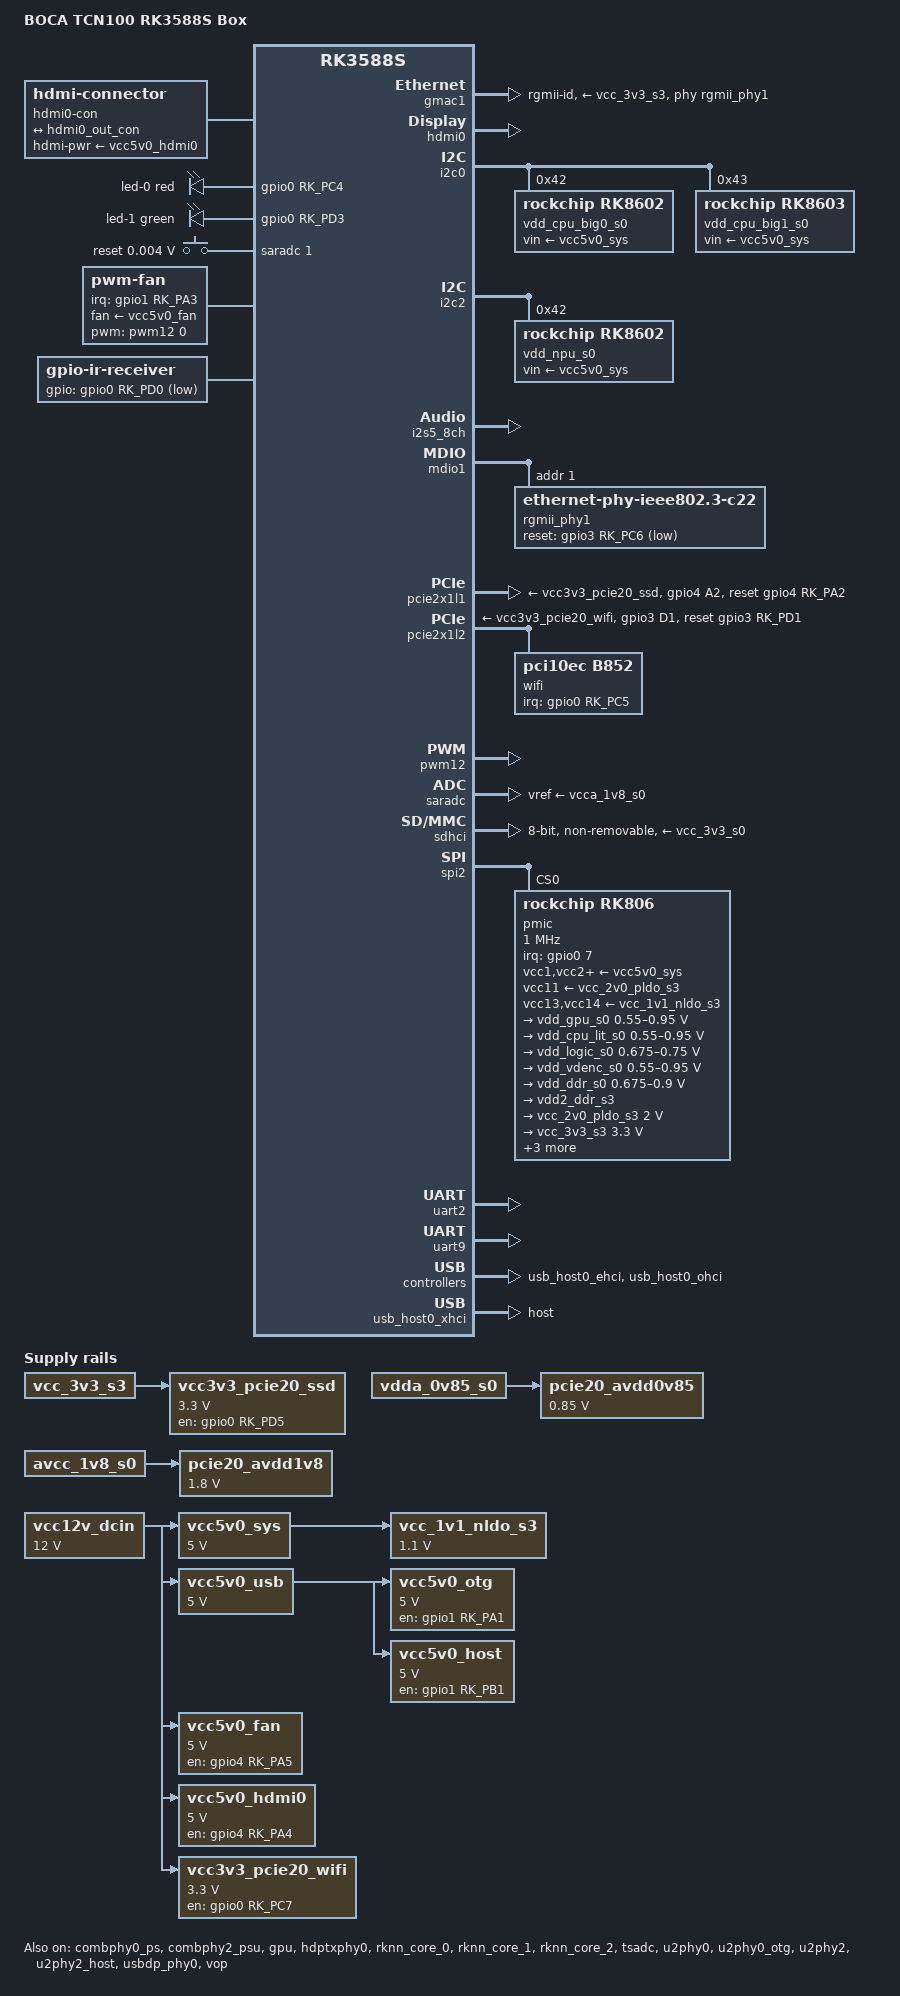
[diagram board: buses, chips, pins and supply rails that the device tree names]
// SPDX-License-Identifier: (GPL-2.0+ OR MIT)

/dts-v1/;

#include <dt-bindings/gpio/gpio.h>
#include <dt-bindings/input/input.h>
#include <dt-bindings/leds/common.h>
#include <dt-bindings/pinctrl/rockchip.h>
#include <dt-bindings/soc/rockchip,vop2.h>
#include "rk3588s.dtsi"

/ {
	model = "BOCA TCN100 RK3588S Box";
	compatible = "boca,tcn100", "rockchip,rk3588s";

	aliases {
		ethernet0 = &gmac1;
		mmc0 = &sdhci;
		serial2 = &uart2;
	};

	chosen {
		stdout-path = "serial2:1500000n8";
	};

	hdmi0-con {
		compatible = "hdmi-connector";
		hdmi-pwr-supply = <&vcc5v0_hdmi0>;
		type = "a";

		port {
			hdmi0_con_in: endpoint {
				remote-endpoint = <&hdmi0_out_con>;
			};
		};
	};

	hdmi0-sound {
		compatible = "simple-audio-card";
		simple-audio-card,format = "i2s";
		simple-audio-card,mclk-fs = <128>;
		simple-audio-card,name = "hdmi0";
		status = "okay";

		simple-audio-card,codec {
			sound-dai = <&hdmi0>;
		};

		simple-audio-card,cpu {
			sound-dai = <&i2s5_8ch>;
		};
	};

	leds {
		compatible = "gpio-leds";
		pinctrl-names = "default";
		pinctrl-0 = <&wan_led_pin &power_led_pin>;

		led-0 {
			color = <LED_COLOR_ID_RED>;
			function = "wan";
			gpios = <&gpio0 RK_PC4 GPIO_ACTIVE_HIGH>;
			linux,default-trigger = "default-on";
		};

		led-1 {
			color = <LED_COLOR_ID_GREEN>;
			function = LED_FUNCTION_POWER;
			gpios = <&gpio0 RK_PD3 GPIO_ACTIVE_HIGH>;
			linux,default-trigger = "default-on";
		};
	};

	adc-keys {
		compatible = "adc-keys";
		io-channels = <&saradc 1>;
		io-channel-names = "buttons";
		keyup-threshold-microvolt = <1800000>;
		poll-interval = <100>;

		button-reset {
			label = "reset";
			linux,code = <KEY_VENDOR>;
			press-threshold-microvolt = <4400>;
		};
	};

	fan: pwm-fan {
		compatible = "pwm-fan";
		#cooling-cells = <2>;
		cooling-levels = <0 72 117 162 229 255>;
		fan-supply = <&vcc5v0_fan>;
		interrupt-parent = <&gpio1>;
		interrupts = <RK_PA3 IRQ_TYPE_EDGE_FALLING>;
		pinctrl-names = "default";
		pinctrl-0 = <&fan_tach_pin>;
		pwms = <&pwm12 0 50000 1>;
	};

	vcc12v_dcin: regulator-vcc12v-dcin {
		compatible = "regulator-fixed";
		regulator-name = "vcc12v_dcin";
		regulator-always-on;
		regulator-boot-on;
		regulator-min-microvolt = <12000000>;
		regulator-max-microvolt = <12000000>;
	};

	vcc5v0_sys: regulator-vcc5v0-sys {
		compatible = "regulator-fixed";
		regulator-name = "vcc5v0_sys";
		regulator-always-on;
		regulator-boot-on;
		regulator-min-microvolt = <5000000>;
		regulator-max-microvolt = <5000000>;
		vin-supply = <&vcc12v_dcin>;
	};

	vcc_1v1_nldo_s3: regulator-vcc-1v1-nldo-s3 {
		compatible = "regulator-fixed";
		regulator-name = "vcc_1v1_nldo_s3";
		regulator-always-on;
		regulator-boot-on;
		regulator-min-microvolt = <1100000>;
		regulator-max-microvolt = <1100000>;
		vin-supply = <&vcc5v0_sys>;
	};

	vcc5v0_usb: regulator-vcc5v0-usb {
		compatible = "regulator-fixed";
		regulator-name = "vcc5v0_usb";
		regulator-always-on;
		regulator-boot-on;
		regulator-min-microvolt = <5000000>;
		regulator-max-microvolt = <5000000>;
		vin-supply = <&vcc12v_dcin>;
	};

	vcc5v0_otg: regulator-vcc5v0-otg {
		compatible = "regulator-fixed";
		enable-active-high;
		gpio = <&gpio1 RK_PA1 GPIO_ACTIVE_HIGH>;
		pinctrl-names = "default";
		pinctrl-0 = <&vcc5v0_otg_en>;
		regulator-name = "vcc5v0_otg";
		regulator-min-microvolt = <5000000>;
		regulator-max-microvolt = <5000000>;
		vin-supply = <&vcc5v0_usb>;
	};

	vcc5v0_host: regulator-vcc5v0-host {
		compatible = "regulator-fixed";
		enable-active-high;
		gpio = <&gpio1 RK_PB1 GPIO_ACTIVE_HIGH>;
		pinctrl-names = "default";
		pinctrl-0 = <&vcc5v0_host_en>;
		regulator-name = "vcc5v0_host";
		regulator-min-microvolt = <5000000>;
		regulator-max-microvolt = <5000000>;
		vin-supply = <&vcc5v0_usb>;
	};

	vcc5v0_fan: regulator-vcc5v0-fan {
		compatible = "regulator-fixed";
		enable-active-high;
		gpio = <&gpio4 RK_PA5 GPIO_ACTIVE_HIGH>;
		pinctrl-names = "default";
		pinctrl-0 = <&vcc5v0_fan_en>;
		regulator-name = "vcc5v0_fan";
		regulator-min-microvolt = <5000000>;
		regulator-max-microvolt = <5000000>;
		vin-supply = <&vcc12v_dcin>;
	};

	ir-receiver {
		compatible = "gpio-ir-receiver";
		gpios = <&gpio0 RK_PD0 GPIO_ACTIVE_LOW>;
		pinctrl-names = "default";
		pinctrl-0 = <&ir_recv_pin>;
		linux,rc-map-name = "rc-hk1-box";
	};

	vcc5v0_hdmi0: regulator-vcc5v0-hdmi0 {
		compatible = "regulator-fixed";
		enable-active-high;
		gpio = <&gpio4 RK_PA4 GPIO_ACTIVE_HIGH>;
		pinctrl-names = "default";
		pinctrl-0 = <&vcc5v0_hdmi_en_pin>;
		regulator-name = "vcc5v0_hdmi0";
		regulator-min-microvolt = <5000000>;
		regulator-max-microvolt = <5000000>;
		vin-supply = <&vcc12v_dcin>;
	};

	vcc3v3_pcie20_ssd: regulator-vcc3v3-pcie20-ssd {
		compatible = "regulator-fixed";
		enable-active-high;
		gpio = <&gpio0 RK_PD5 GPIO_ACTIVE_HIGH>;
		pinctrl-names = "default";
		pinctrl-0 = <&pcie20_ssd_pwr>;
		regulator-name = "vcc3v3_pcie20_ssd";
		regulator-always-on;
		regulator-boot-on;
		regulator-min-microvolt = <3300000>;
		regulator-max-microvolt = <3300000>;
		startup-delay-us = <5000>;
		vin-supply = <&vcc_3v3_s3>;
	};

	vcc3v3_pcie20_wifi: regulator-vcc3v3-pcie20-wifi {
		compatible = "regulator-fixed";
		enable-active-high;
		gpio = <&gpio0 RK_PC7 GPIO_ACTIVE_HIGH>;
		pinctrl-names = "default";
		pinctrl-0 = <&pcie20_wifi_pwr>;
		regulator-name = "vcc3v3_pcie20_wifi";
		regulator-min-microvolt = <3300000>;
		regulator-max-microvolt = <3300000>;
		startup-delay-us = <5000>;
		vin-supply = <&vcc12v_dcin>;
	};

	pcie20_avdd0v85: regulator-pcie20-avdd0v85 {
		compatible = "regulator-fixed";
		regulator-name = "pcie20_avdd0v85";
		regulator-always-on;
		regulator-boot-on;
		regulator-min-microvolt = <850000>;
		regulator-max-microvolt = <850000>;
		vin-supply = <&vdda_0v85_s0>;
	};

	pcie20_avdd1v8: regulator-pcie20-avdd1v8 {
		compatible = "regulator-fixed";
		regulator-name = "pcie20_avdd1v8";
		regulator-always-on;
		regulator-boot-on;
		regulator-min-microvolt = <1800000>;
		regulator-max-microvolt = <1800000>;
		vin-supply = <&avcc_1v8_s0>;
	};
};

&combphy0_ps {
	status = "okay";
};

&combphy2_psu {
	status = "okay";
};

&cpu_b0 {
	cpu-supply = <&vdd_cpu_big0_s0>;
};

&cpu_b1 {
	cpu-supply = <&vdd_cpu_big0_s0>;
};

&cpu_b2 {
	cpu-supply = <&vdd_cpu_big1_s0>;
};

&cpu_b3 {
	cpu-supply = <&vdd_cpu_big1_s0>;
};

&cpu_l0 {
	cpu-supply = <&vdd_cpu_lit_s0>;
};

&cpu_l1 {
	cpu-supply = <&vdd_cpu_lit_s0>;
};

&cpu_l2 {
	cpu-supply = <&vdd_cpu_lit_s0>;
};

&cpu_l3 {
	cpu-supply = <&vdd_cpu_lit_s0>;
};

&gmac1 {
	clock_in_out = "output";
	phy-handle = <&rgmii_phy1>;
	phy-mode = "rgmii-id";
	phy-supply = <&vcc_3v3_s3>;
	pinctrl-names = "default";
	pinctrl-0 = <&gmac1_miim
		     &gmac1_tx_bus2
		     &gmac1_rx_bus2
		     &gmac1_rgmii_clk
		     &gmac1_rgmii_bus>;
	status = "okay";
};

&gpu {
	mali-supply = <&vdd_gpu_s0>;
	status = "okay";
};

&hdmi0 {
	frl-enable-gpios = <&gpio4 RK_PB2 GPIO_ACTIVE_HIGH>;
	pinctrl-names = "default";
	pinctrl-0 = <&hdmim0_tx0_cec
		     &hdmim0_tx0_hpd
		     &hdmim0_tx0_scl
		     &hdmim0_tx0_sda>;
	status = "okay";
};

&hdmi0_in {
	hdmi0_in_vp0: endpoint {
		remote-endpoint = <&vp0_out_hdmi0>;
	};
};

&hdmi0_out {
	hdmi0_out_con: endpoint {
		remote-endpoint = <&hdmi0_con_in>;
	};
};

&hdptxphy0 {
	status = "okay";
};

&i2c0 {
	pinctrl-names = "default";
	pinctrl-0 = <&i2c0m2_xfer>;
	status = "okay";

	vdd_cpu_big0_s0: regulator@42 {
		compatible = "rockchip,rk8602";
		reg = <0x42>;
		fcs,suspend-voltage-selector = <1>;
		regulator-name = "vdd_cpu_big0_s0";
		regulator-always-on;
		regulator-boot-on;
		regulator-min-microvolt = <550000>;
		regulator-max-microvolt = <1050000>;
		regulator-ramp-delay = <2300>;
		vin-supply = <&vcc5v0_sys>;

		regulator-state-mem {
			regulator-off-in-suspend;
		};
	};

	vdd_cpu_big1_s0: regulator@43 {
		compatible = "rockchip,rk8603", "rockchip,rk8602";
		reg = <0x43>;
		fcs,suspend-voltage-selector = <1>;
		regulator-name = "vdd_cpu_big1_s0";
		regulator-always-on;
		regulator-boot-on;
		regulator-min-microvolt = <550000>;
		regulator-max-microvolt = <1050000>;
		regulator-ramp-delay = <2300>;
		vin-supply = <&vcc5v0_sys>;

		regulator-state-mem {
			regulator-off-in-suspend;
		};
	};
};

&i2c2 {
	status = "okay";

	vdd_npu_s0: regulator@42 {
		compatible = "rockchip,rk8602";
		reg = <0x42>;
		fcs,suspend-voltage-selector = <1>;
		regulator-name = "vdd_npu_s0";
		regulator-always-on;
		regulator-boot-on;
		regulator-min-microvolt = <550000>;
		regulator-max-microvolt = <950000>;
		regulator-ramp-delay = <2300>;
		vin-supply = <&vcc5v0_sys>;

		regulator-state-mem {
			regulator-off-in-suspend;
		};
	};
};

&i2s5_8ch {
	status = "okay";
};

&mdio1 {
	rgmii_phy1: ethernet-phy@1 {
		compatible = "ethernet-phy-ieee802.3-c22";
		reg = <1>;
		pinctrl-names = "default";
		pinctrl-0 = <&gmac1_rstn>;
		reset-assert-us = <20000>;
		reset-deassert-us = <100000>;
		reset-gpios = <&gpio3 RK_PC6 GPIO_ACTIVE_LOW>;
	};
};

&package_thermal {
	polling-delay = <1000>;

	trips {
		package_fan0: package-fan0 {
			temperature = <56000>;
			hysteresis = <5000>;
			type = "active";
		};

		package_fan1: package-fan1 {
			temperature = <62000>;
			hysteresis = <2000>;
			type = "active";
		};

		package_fan2: package-fan2 {
			temperature = <70000>;
			hysteresis = <2000>;
			type = "active";
		};

		package_fan3: package-fan3 {
			temperature = <80000>;
			hysteresis = <2000>;
			type = "active";
		};

		package_fan4: package-fan4 {
			temperature = <90000>;
			hysteresis = <2000>;
			type = "hot";
		};
	};

	cooling-maps {
		map0 {
			trip = <&package_fan0>;
			cooling-device = <&fan THERMAL_NO_LIMIT 1>;
		};

		map1 {
			trip = <&package_fan1>;
			cooling-device = <&fan 1 2>;
		};

		map2 {
			trip = <&package_fan2>;
			cooling-device = <&fan 2 3>;
		};

		map3 {
			trip = <&package_fan3>;
			cooling-device = <&fan 3 4>;
		};

		map4 {
			trip = <&package_fan4>;
			cooling-device = <&fan 4 THERMAL_NO_LIMIT>;
		};
	};
};

&pcie2x1l1 {
	pinctrl-names = "default";
	pinctrl-0 = <&pcie20x1_1_perstn>;
	reset-gpios = <&gpio4 RK_PA2 GPIO_ACTIVE_HIGH>;
	vpcie3v3-supply = <&vcc3v3_pcie20_ssd>;
	status = "okay";
};

&pcie2x1l2 {
	pinctrl-names = "default";
	pinctrl-0 = <&pcie20x1_2_perstn>;
	reset-gpios = <&gpio3 RK_PD1 GPIO_ACTIVE_HIGH>;
	vpcie3v3-supply = <&vcc3v3_pcie20_wifi>;
	status = "okay";

	pcie@0,0 {
		reg = <0x00400000 0 0 0 0>;
		#address-cells = <3>;
		#size-cells = <2>;
		bus-range = <0x40 0x4f>;
		device_type = "pci";
		ranges;

		wifi: pcie@0,0 {
			compatible = "pci10ec,b852";
			reg = <0x410000 0 0 0 0>;
			interrupt-parent = <&gpio0>;
			interrupts = <RK_PC5 IRQ_TYPE_LEVEL_HIGH>;
			interrupt-names = "host-wake";
			pinctrl-names = "default";
			pinctrl-0 = <&wifi_host_wake_irq>;
		};
	};
};

&pd_gpu {
	domain-supply = <&vdd_gpu_s0>;
};

&pd_npu {
	domain-supply = <&vdd_npu_s0>;
};

&pinctrl {
	fan {
		vcc5v0_fan_en: vcc5v0-fan-en {
			rockchip,pins = <4 RK_PA5 RK_FUNC_GPIO &pcfg_pull_none>;
		};

		fan_tach_pin: fan-tach-pin {
			rockchip,pins = <1 RK_PA3 RK_FUNC_GPIO &pcfg_pull_none>;
		};
	};

	hdmi {
		vcc5v0_hdmi_en_pin: vcc5v0-hdmi-en-pin {
			rockchip,pins = <4 RK_PA4 RK_FUNC_GPIO &pcfg_pull_none>;
		};
	};

	leds {
		wan_led_pin: wan-led-pin {
			rockchip,pins = <0 RK_PC4 RK_FUNC_GPIO &pcfg_pull_none>;
		};

		power_led_pin: power-led-pin {
			rockchip,pins = <0 RK_PD3 RK_FUNC_GPIO &pcfg_pull_none>;
		};
	};

	mdio {
		gmac1_rstn: gmac1-rstn {
			rockchip,pins = <3 RK_PC6 RK_FUNC_GPIO &pcfg_pull_none>;
		};
	};

	pcie {
		pcie20x1_1_perstn: pcie20x1-1-perstn {
			rockchip,pins = <4 RK_PA2 RK_FUNC_GPIO &pcfg_pull_none>;
		};

		pcie20x1_2_perstn: pcie20x1-2-perstn {
			rockchip,pins = <3 RK_PD1 RK_FUNC_GPIO &pcfg_pull_none>;
		};

		pcie20_ssd_pwr: pcie20-ssd-pwr {
			rockchip,pins = <0 RK_PD5 RK_FUNC_GPIO &pcfg_pull_none>;
		};

		pcie20_wifi_pwr: pcie20-wifi-pwr {
			rockchip,pins = <0 RK_PC7 RK_FUNC_GPIO &pcfg_pull_none>;
		};
	};

	usb {
		vcc5v0_otg_en: vcc5v0-otg-en {
			rockchip,pins = <1 RK_PA1 RK_FUNC_GPIO &pcfg_pull_none>;
		};

		vcc5v0_host_en: vcc5v0-host-en {
			rockchip,pins = <1 RK_PB1 RK_FUNC_GPIO &pcfg_pull_none>;
		};
	};

	wifi {
		wifi_host_wake_irq: wifi-host-wake-irq {
			rockchip,pins = <0 RK_PC5 RK_FUNC_GPIO &pcfg_pull_down>;
		};
	};

	ir {
		ir_recv_pin: ir-recv-pin {
			rockchip,pins = <0 RK_PD0 RK_FUNC_GPIO &pcfg_pull_none>;
		};
	};
};

&pwm12 {
	pinctrl-names = "default";
	pinctrl-0 = <&pwm12m1_pins>;
	status = "okay";
};

&rknn_core_0 {
	npu-supply = <&vdd_npu_s0>;
	status = "okay";
};

&rknn_core_1 {
	npu-supply = <&vdd_npu_s0>;
	status = "okay";
};

&rknn_core_2 {
	npu-supply = <&vdd_npu_s0>;
	status = "okay";
};

&rknn_mmu_0 {
	status = "okay";
};

&rknn_mmu_1 {
	status = "okay";
};

&rknn_mmu_2 {
	status = "okay";
};

&saradc {
	vref-supply = <&vcca_1v8_s0>;
	status = "okay";
};

&sdhci {
	bus-width = <8>;
	mmc-hs400-1_8v;
	mmc-hs400-enhanced-strobe;
	no-sdio;
	no-sd;
	non-removable;
	vmmc-supply = <&vcc_3v3_s0>;
	vqmmc-supply = <&vcc_1v8_s3>;
	status = "okay";
};

&spi2 {
	status = "okay";
	assigned-clocks = <&cru CLK_SPI2>;
	assigned-clock-rates = <200000000>;
	num-cs = <1>;
	pinctrl-names = "default";
	pinctrl-0 = <&spi2m2_cs0 &spi2m2_pins>;

	pmic@0 {
		compatible = "rockchip,rk806";
		reg = <0>;
		gpio-controller;
		#gpio-cells = <2>;
		interrupt-parent = <&gpio0>;
		interrupts = <7 IRQ_TYPE_LEVEL_LOW>;
		pinctrl-names = "default";
		pinctrl-0 = <&pmic_pins>, <&rk806_dvs1_null>,
			    <&rk806_dvs2_null>, <&rk806_dvs3_null>;
		spi-max-frequency = <1000000>;
		system-power-controller;

		vcc1-supply = <&vcc5v0_sys>;
		vcc2-supply = <&vcc5v0_sys>;
		vcc3-supply = <&vcc5v0_sys>;
		vcc4-supply = <&vcc5v0_sys>;
		vcc5-supply = <&vcc5v0_sys>;
		vcc6-supply = <&vcc5v0_sys>;
		vcc7-supply = <&vcc5v0_sys>;
		vcc8-supply = <&vcc5v0_sys>;
		vcc9-supply = <&vcc5v0_sys>;
		vcc10-supply = <&vcc5v0_sys>;
		vcc11-supply = <&vcc_2v0_pldo_s3>;
		vcc12-supply = <&vcc5v0_sys>;
		vcc13-supply = <&vcc_1v1_nldo_s3>;
		vcc14-supply = <&vcc_1v1_nldo_s3>;
		vcca-supply = <&vcc5v0_sys>;

		rk806_dvs1_null: dvs1-null-pins {
			pins = "gpio_pwrctrl1";
			function = "pin_fun0";
		};

		rk806_dvs2_null: dvs2-null-pins {
			pins = "gpio_pwrctrl2";
			function = "pin_fun0";
		};

		rk806_dvs3_null: dvs3-null-pins {
			pins = "gpio_pwrctrl3";
			function = "pin_fun0";
		};

		regulators {
			vdd_gpu_s0: dcdc-reg1 {
				regulator-name = "vdd_gpu_s0";
				regulator-always-on;
				regulator-boot-on;
				regulator-min-microvolt = <550000>;
				regulator-max-microvolt = <950000>;
				regulator-ramp-delay = <12500>;
				regulator-enable-ramp-delay = <400>;

				regulator-state-mem {
					regulator-off-in-suspend;
				};
			};

			vdd_cpu_lit_s0: dcdc-reg2 {
				regulator-name = "vdd_cpu_lit_s0";
				regulator-always-on;
				regulator-boot-on;
				regulator-min-microvolt = <550000>;
				regulator-max-microvolt = <950000>;
				regulator-ramp-delay = <12500>;

				regulator-state-mem {
					regulator-off-in-suspend;
				};
			};

			vdd_logic_s0: dcdc-reg3 {
				regulator-name = "vdd_logic_s0";
				regulator-always-on;
				regulator-boot-on;
				regulator-min-microvolt = <675000>;
				regulator-max-microvolt = <750000>;
				regulator-ramp-delay = <12500>;

				regulator-state-mem {
					regulator-on-in-suspend;
					regulator-suspend-microvolt = <750000>;
				};
			};

			vdd_vdenc_s0: dcdc-reg4 {
				regulator-name = "vdd_vdenc_s0";
				regulator-always-on;
				regulator-boot-on;
				regulator-min-microvolt = <550000>;
				regulator-max-microvolt = <950000>;
				regulator-ramp-delay = <12500>;

				regulator-state-mem {
					regulator-off-in-suspend;
				};
			};

			vdd_ddr_s0: dcdc-reg5 {
				regulator-name = "vdd_ddr_s0";
				regulator-always-on;
				regulator-boot-on;
				regulator-min-microvolt = <675000>;
				regulator-max-microvolt = <900000>;
				regulator-ramp-delay = <12500>;

				regulator-state-mem {
					regulator-off-in-suspend;
					regulator-suspend-microvolt = <850000>;
				};
			};

			vdd2_ddr_s3: dcdc-reg6 {
				regulator-name = "vdd2_ddr_s3";
				regulator-always-on;
				regulator-boot-on;

				regulator-state-mem {
					regulator-on-in-suspend;
				};
			};

			vcc_2v0_pldo_s3: dcdc-reg7 {
				regulator-name = "vdd_2v0_pldo_s3";
				regulator-always-on;
				regulator-boot-on;
				regulator-min-microvolt = <2000000>;
				regulator-max-microvolt = <2000000>;
				regulator-ramp-delay = <12500>;

				regulator-state-mem {
					regulator-on-in-suspend;
					regulator-suspend-microvolt = <2000000>;
				};
			};

			vcc_3v3_s3: dcdc-reg8 {
				regulator-name = "vcc_3v3_s3";
				regulator-always-on;
				regulator-boot-on;
				regulator-min-microvolt = <3300000>;
				regulator-max-microvolt = <3300000>;

				regulator-state-mem {
					regulator-on-in-suspend;
					regulator-suspend-microvolt = <3300000>;
				};
			};

			vddq_ddr_s0: dcdc-reg9 {
				regulator-name = "vddq_ddr_s0";
				regulator-always-on;
				regulator-boot-on;

				regulator-state-mem {
					regulator-off-in-suspend;
				};
			};

			vcc_1v8_s3: dcdc-reg10 {
				regulator-name = "vcc_1v8_s3";
				regulator-always-on;
				regulator-boot-on;
				regulator-min-microvolt = <1800000>;
				regulator-max-microvolt = <1800000>;

				regulator-state-mem {
					regulator-on-in-suspend;
					regulator-suspend-microvolt = <1800000>;
				};
			};

			avcc_1v8_s0: pldo-reg1 {
				regulator-name = "avcc_1v8_s0";
				regulator-always-on;
				regulator-boot-on;
				regulator-min-microvolt = <1800000>;
				regulator-max-microvolt = <1800000>;

				regulator-state-mem {
					regulator-off-in-suspend;
				};
			};

			vcca_1v8_s0: pldo-reg2 {
				regulator-name = "vcca_1v8_s0";
				regulator-always-on;
				regulator-boot-on;
				regulator-min-microvolt = <1800000>;
				regulator-max-microvolt = <1800000>;

				regulator-state-mem {
					regulator-off-in-suspend;
					regulator-suspend-microvolt = <1800000>;
				};
			};

			avdd_1v2_s0: pldo-reg3 {
				regulator-name = "avdd_1v2_s0";
				regulator-always-on;
				regulator-boot-on;
				regulator-min-microvolt = <1200000>;
				regulator-max-microvolt = <1200000>;

				regulator-state-mem {
					regulator-off-in-suspend;
				};
			};

			vcc_3v3_s0: pldo-reg4 {
				regulator-name = "vcc_3v3_s0";
				regulator-always-on;
				regulator-boot-on;
				regulator-min-microvolt = <3300000>;
				regulator-max-microvolt = <3300000>;

				regulator-state-mem {
					regulator-off-in-suspend;
				};
			};

			vccio_sd_s0: pldo-reg5 {
				regulator-name = "vccio_sd_s0";
				regulator-always-on;
				regulator-boot-on;
				regulator-min-microvolt = <1800000>;
				regulator-max-microvolt = <3300000>;

				regulator-state-mem {
					regulator-off-in-suspend;
				};
			};

			pldo6_s3: pldo-reg6 {
				regulator-name = "pldo6_s3";
				regulator-always-on;
				regulator-boot-on;
				regulator-min-microvolt = <1800000>;
				regulator-max-microvolt = <1800000>;

				regulator-state-mem {
					regulator-on-in-suspend;
					regulator-suspend-microvolt = <1800000>;
				};
			};

			vdd_0v75_s3: nldo-reg1 {
				regulator-name = "vdd_0v75_s3";
				regulator-always-on;
				regulator-boot-on;
				regulator-min-microvolt = <750000>;
				regulator-max-microvolt = <750000>;

				regulator-state-mem {
					regulator-on-in-suspend;
					regulator-suspend-microvolt = <750000>;
				};
			};

			vdda_ddr_pll_s0: nldo-reg2 {
				regulator-name = "vdda_ddr_pll_s0";
				regulator-always-on;
				regulator-boot-on;
				regulator-min-microvolt = <850000>;
				regulator-max-microvolt = <850000>;

				regulator-state-mem {
					regulator-off-in-suspend;
					regulator-suspend-microvolt = <850000>;
				};
			};

			vdda_0v75_s0: nldo-reg3 {
				regulator-name = "vdda_0v75_s0";
				regulator-always-on;
				regulator-boot-on;
				regulator-min-microvolt = <750000>;
				regulator-max-microvolt = <750000>;

				regulator-state-mem {
					regulator-off-in-suspend;
				};
			};

			vdda_0v85_s0: nldo-reg4 {
				regulator-name = "vdda_0v85_s0";
				regulator-always-on;
				regulator-boot-on;
				regulator-min-microvolt = <850000>;
				regulator-max-microvolt = <850000>;

				regulator-state-mem {
					regulator-off-in-suspend;
				};
			};

			vdd_0v75_s0: nldo-reg5 {
				regulator-name = "vdd_0v75_s0";
				regulator-always-on;
				regulator-boot-on;
				regulator-min-microvolt = <750000>;
				regulator-max-microvolt = <750000>;

				regulator-state-mem {
					regulator-off-in-suspend;
				};
			};
		};
	};
};

&tsadc {
	rockchip,hw-tshut-mode = <0>; /* 0:CRU 1:GPIO */
	rockchip,hw-tshut-polarity = <0>; /* 0:LOW 1:HIGH */
	status = "okay";
};

&u2phy0 {
	status = "okay";
};

&u2phy0_otg {
	phy-supply = <&vcc5v0_otg>;
	status = "okay";
};

&u2phy2 {
	status = "okay";
};

&u2phy2_host {
	phy-supply = <&vcc5v0_host>;
	status = "okay";
};

&uart2 {
	pinctrl-0 = <&uart2m0_xfer>;
	status = "okay";
};

&uart9 {
	pinctrl-0 = <&uart9m2_xfer &uart9m2_ctsn>;
	status = "okay";
};

&usbdp_phy0 {
	status = "okay";
};

&usb_host0_ehci {
	status = "okay";
};

&usb_host0_ohci {
	status = "okay";
};

&usb_host0_xhci {
	dr_mode = "host";
	status = "okay";
};

&vop {
	status = "okay";
};

&vop_mmu {
	status = "okay";
};

&vp0 {
	vp0_out_hdmi0: endpoint@ROCKCHIP_VOP2_EP_HDMI0 {
		reg = <ROCKCHIP_VOP2_EP_HDMI0>;
		remote-endpoint = <&hdmi0_in_vp0>;
	};
};
